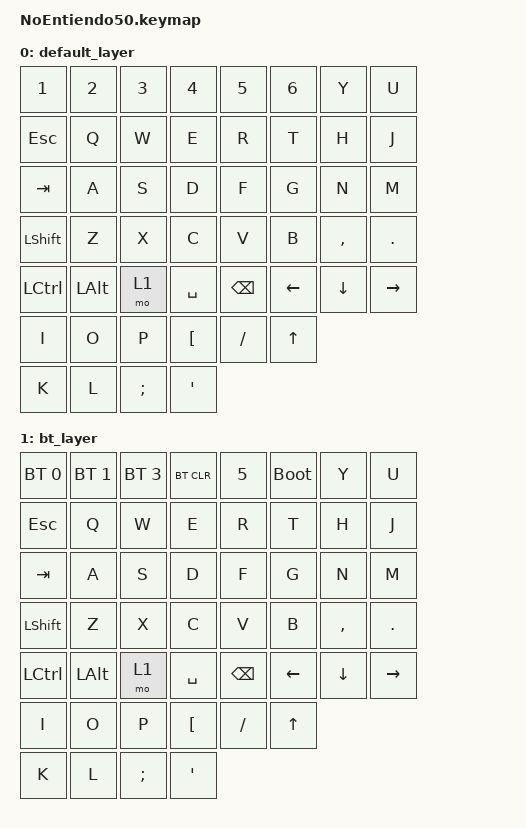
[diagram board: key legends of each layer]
#include <behaviors.dtsi>
#include <dt-bindings/zmk/keys.h>
#include <dt-bindings/zmk/bt.h>

/ {
	keymap {
		compatible = "zmk,keymap";
		
		default_layer {
			bindings = <
				&kp N1		&kp N2		&kp N3		&kp N4		&kp N5		&kp N6		&kp Y		&kp U
				&kp ESC		&kp Q		&kp W		&kp E		&kp R		&kp T		&kp H		&kp J
				&kp TAB		&kp A		&kp S		&kp D		&kp F		&kp G		&kp N		&kp M
				&kp LSHFT	&kp Z		&kp X		&kp C		&kp V		&kp B		&kp COMMA	&kp DOT
				&kp LCTRL	&kp LALT	&mo 1		&kp SPACE	&kp BSPC	&kp LEFT	&kp DOWN	&kp RIGHT
				&kp I		&kp O		&kp P		&kp LBKT	&kp SLASH	&kp UP		
				&kp K		&kp L		&kp SEMI	&kp APOS
			>;
		};
		
		bt_layer {
			bindings = <
				&bt BT_SEL 0		&bt BT_SEL 1		&bt BT_SEL 3		&bt BT_CLR		&kp N5		&bootloader		&kp Y		&kp U
				&kp ESC				&kp Q				&kp W				&kp E			&kp R		&kp T			&kp H		&kp J
				&kp TAB				&kp A				&kp S				&kp D			&kp F		&kp G			&kp N		&kp M
				&kp LSHFT			&kp Z				&kp X				&kp C			&kp V		&kp B			&kp COMMA	&kp DOT
				&kp LCTRL			&kp LALT			&mo 1				&kp SPACE		&kp BSPC	&kp LEFT		&kp DOWN	&kp RIGHT
				&kp I				&kp O				&kp P				&kp LBKT		&kp SLASH	&kp UP		
				&kp K				&kp L				&kp SEMI			&kp APOS
			>;
		};
	};
};	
